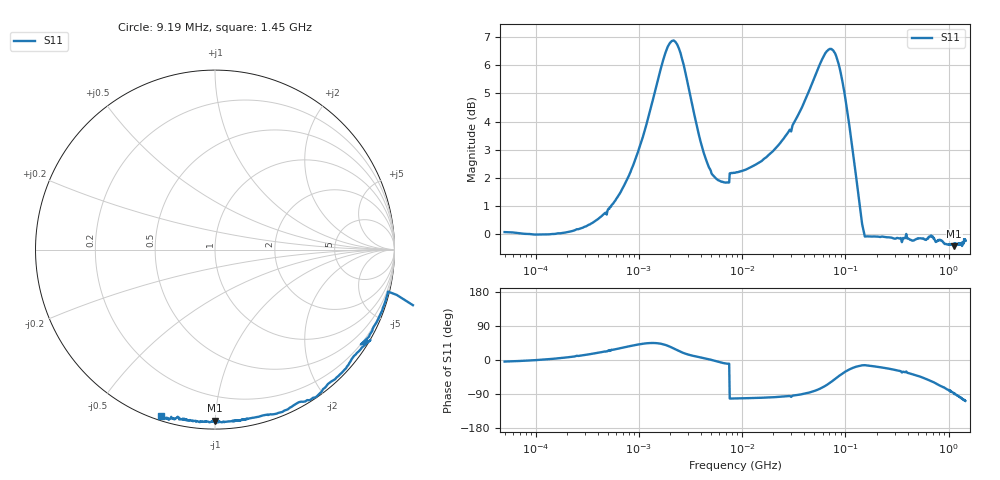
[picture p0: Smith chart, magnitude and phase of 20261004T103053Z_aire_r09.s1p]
! piloto_corto / aire / r09
# HZ S RI R 50
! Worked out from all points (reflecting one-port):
!   501 points, 50 kHz to 1.45 GHz, reference 50 ohm
!   lowest |S11| = -0.4 dB at 1.131 GHz (marker M1), VSWR 41.96, Z = 2.38 - j50 ohm
!   phase of S11 starts at -4 deg and turns -104 deg over the sweep
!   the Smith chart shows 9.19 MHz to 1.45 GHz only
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50000  1.007 -0.0729
183000  1.001 0.0996
373000  1.006 0.3176
658000  1.016 0.6115
1180000  1.126 1.088
1630000  1.442 1.343
1990000  1.782 1.263
2440000  1.956 0.8589
3430000  1.607 0.2967
4870000  1.306 0.0295
7300000  1.218 -0.2105
7750000  -0.26 -1.258
8560000  -0.2552 -1.262
1.72e7  -0.216 -1.355
3.16e7  -0.0997 -1.573
4.78e7  0.2085 -1.846
6.58e7  0.8613 -1.929
7.48e7  1.207 -1.749
8.83e7  1.495 -1.275
9.82e7  1.505 -0.9346
1e8  1.496 -0.8808
1.18e8  1.31 -0.4959
1.36e8  1.103 -0.3096
1.63e8  0.9612 -0.2473
4.06e8  0.8115 -0.5552
6.85e8  0.5457 -0.8257
1.1305e9  0.000859 -0.9534
1.45e9  -0.2991 -0.9275
